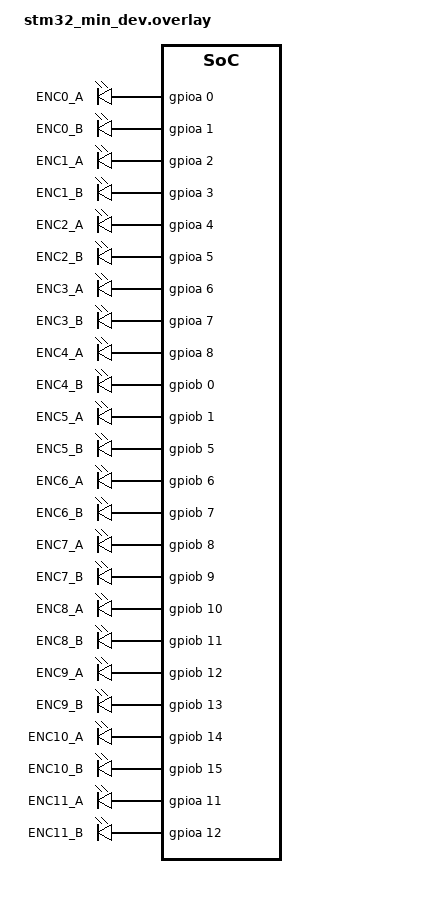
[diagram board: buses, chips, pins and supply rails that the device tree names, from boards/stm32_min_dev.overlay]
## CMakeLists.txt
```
#-------------------------------------------------------------------------------
# Zephyr Example Application
#
# Copyright (c) 2021 Nordic Semiconductor ASA
# SPDX-License-Identifier: Apache-2.0

cmake_minimum_required(VERSION 3.13.1)
find_package(Zephyr REQUIRED HINTS $ENV{ZEPHYR_BASE})

project(encoder_sim LANGUAGES C)

target_sources(app PRIVATE src/main.c)

# The code below locates the git index file for this repository and adds it as a dependency for
# the application VERSION file so that if the repo has a new commit added, even if no files in
# the build have changed, the application version file will be regenerated with the new git commit
find_package(Git QUIET)
if(GIT_FOUND)
  execute_process(
    COMMAND ${GIT_EXECUTABLE} rev-parse --absolute-git-dir
    WORKING_DIRECTORY .
    OUTPUT_VARIABLE application_git_dir
    OUTPUT_STRIP_TRAILING_WHITESPACE
    ERROR_STRIP_TRAILING_WHITESPACE
    ERROR_VARIABLE stderr
    RESULT_VARIABLE return_code
  )
  # If there is an error e.g. it is not a git repo, we just silently ignore it and continue
  # without a dependency, this will be the case with freestanding applications.
  if(NOT return_code)
    if(NOT "${stderr}" STREQUAL "")
      message(WARNING "Application build version git rev-parse warned: ${stderr}")
    endif()

    set_property(TARGET app_version_h PROPERTY APP_VERSION_DEPENDS ${application_git_dir}/index)
  endif()
endif()
```

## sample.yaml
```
# Copyright (c) 2026 Hake Huang
# SPDX-License-Identifier: Apache-2.0
sample:
  description: Multi-channel quadrature encoder waveform simulator for STM32F103C8T6
  name: encoder-sim
common:
  build_only: true
  integration_platforms:
    - stm32_min_dev
tests:
  app.default: {}
```

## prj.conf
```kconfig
# Copyright (c) 2026 Hake Huang
# SPDX-License-Identifier: Apache-2.0
CONFIG_GPIO=y
CONFIG_SERIAL=y
CONFIG_CONSOLE=y
CONFIG_UART_CONSOLE=y
CONFIG_SHELL=y
CONFIG_SHELL_BACKEND_SERIAL=y
CONFIG_SHELL_CMD_BUFF_SIZE=128
CONFIG_SHELL_ARGC_MAX=8
CONFIG_PRINTK=y
CONFIG_LOG=n
CONFIG_THREAD_NAME=y
CONFIG_MAIN_STACK_SIZE=2048
```

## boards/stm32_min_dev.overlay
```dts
/*
 * Copyright (c) 2026 Hake Huang
 * SPDX-License-Identifier: Apache-2.0
 */
/*
 * Pin map for Blue Pill / stm32_min_dev default (blue revision).
 *
 * Reserved and intentionally not used here:
 * - PA9/PA10  : UART1 console shell
 * - PA13/PA14 : SWD debug
 * - PC13      : board LED
 *
 * Optional but used here:
 * - PA11/PA12 : USB D-/D+ (channel 11). Leave ch11 disabled if USB is needed.
 */

#include <zephyr/dt-bindings/gpio/gpio.h>

/ {
	encoder_outputs {
		compatible = "gpio-leds";

		enc0a: enc0a {
			gpios = <&gpioa 0 GPIO_ACTIVE_HIGH>;
			label = "ENC0_A";
		};
		enc0b: enc0b {
			gpios = <&gpioa 1 GPIO_ACTIVE_HIGH>;
			label = "ENC0_B";
		};

		enc1a: enc1a {
			gpios = <&gpioa 2 GPIO_ACTIVE_HIGH>;
			label = "ENC1_A";
		};
		enc1b: enc1b {
			gpios = <&gpioa 3 GPIO_ACTIVE_HIGH>;
			label = "ENC1_B";
		};

		enc2a: enc2a {
			gpios = <&gpioa 4 GPIO_ACTIVE_HIGH>;
			label = "ENC2_A";
		};
		enc2b: enc2b {
			gpios = <&gpioa 5 GPIO_ACTIVE_HIGH>;
			label = "ENC2_B";
		};

		enc3a: enc3a {
			gpios = <&gpioa 6 GPIO_ACTIVE_HIGH>;
			label = "ENC3_A";
		};
		enc3b: enc3b {
			gpios = <&gpioa 7 GPIO_ACTIVE_HIGH>;
			label = "ENC3_B";
		};

		enc4a: enc4a {
			gpios = <&gpioa 8 GPIO_ACTIVE_HIGH>;
			label = "ENC4_A";
		};
		enc4b: enc4b {
			gpios = <&gpiob 0 GPIO_ACTIVE_HIGH>;
			label = "ENC4_B";
		};

		enc5a: enc5a {
			gpios = <&gpiob 1 GPIO_ACTIVE_HIGH>;
			label = "ENC5_A";
		};
		enc5b: enc5b {
			gpios = <&gpiob 5 GPIO_ACTIVE_HIGH>;
			label = "ENC5_B";
		};

		enc6a: enc6a {
			gpios = <&gpiob 6 GPIO_ACTIVE_HIGH>;
			label = "ENC6_A";
		};
		enc6b: enc6b {
			gpios = <&gpiob 7 GPIO_ACTIVE_HIGH>;
			label = "ENC6_B";
		};

		enc7a: enc7a {
			gpios = <&gpiob 8 GPIO_ACTIVE_HIGH>;
			label = "ENC7_A";
		};
		enc7b: enc7b {
			gpios = <&gpiob 9 GPIO_ACTIVE_HIGH>;
			label = "ENC7_B";
		};

		enc8a: enc8a {
			gpios = <&gpiob 10 GPIO_ACTIVE_HIGH>;
			label = "ENC8_A";
		};
		enc8b: enc8b {
			gpios = <&gpiob 11 GPIO_ACTIVE_HIGH>;
			label = "ENC8_B";
		};

		enc9a: enc9a {
			gpios = <&gpiob 12 GPIO_ACTIVE_HIGH>;
			label = "ENC9_A";
		};
		enc9b: enc9b {
			gpios = <&gpiob 13 GPIO_ACTIVE_HIGH>;
			label = "ENC9_B";
		};

		enc10a: enc10a {
			gpios = <&gpiob 14 GPIO_ACTIVE_HIGH>;
			label = "ENC10_A";
		};
		enc10b: enc10b {
			gpios = <&gpiob 15 GPIO_ACTIVE_HIGH>;
			label = "ENC10_B";
		};

		enc11a: enc11a {
			gpios = <&gpioa 11 GPIO_ACTIVE_HIGH>;
			label = "ENC11_A";
		};
		enc11b: enc11b {
			gpios = <&gpioa 12 GPIO_ACTIVE_HIGH>;
			label = "ENC11_B";
		};
	};

	aliases {
		enc0a = &enc0a;
		enc0b = &enc0b;
		enc1a = &enc1a;
		enc1b = &enc1b;
		enc2a = &enc2a;
		enc2b = &enc2b;
		enc3a = &enc3a;
		enc3b = &enc3b;
		enc4a = &enc4a;
		enc4b = &enc4b;
		enc5a = &enc5a;
		enc5b = &enc5b;
		enc6a = &enc6a;
		enc6b = &enc6b;
		enc7a = &enc7a;
		enc7b = &enc7b;
		enc8a = &enc8a;
		enc8b = &enc8b;
		enc9a = &enc9a;
		enc9b = &enc9b;
		enc10a = &enc10a;
		enc10b = &enc10b;
		enc11a = &enc11a;
		enc11b = &enc11b;
	};
};
```

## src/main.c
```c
/*
 * Copyright (c) 2026 Hake Huang
 * SPDX-License-Identifier: Apache-2.0
 */
/*
 * Quadrature encoder waveform simulator for STM32F103C8T6 (Blue Pill / stm32_min_dev).
 *
 * Features:
 * - Up to 12 independent quadrature output channels (A/B pair per channel)
 * - Shell control over UART1 console
 * - Per-channel start/stop, direction, and rate changes
 * - Stop drives both GPIOs to high impedance using GPIO_DISCONNECTED
 */

#include <errno.h>
#include <stdbool.h>
#include <stdint.h>
#include <stdlib.h>
#include <string.h>

#include <zephyr/device.h>
#include <zephyr/drivers/gpio.h>
#include <zephyr/kernel.h>
#include <zephyr/shell/shell.h>
#include <zephyr/sys/printk.h>
#include <zephyr/sys/util.h>

#define CH_COUNT 12
#define DEFAULT_CYCLE_HZ 100
#define MAX_CYCLE_HZ 20000U
#define IDLE_SLEEP_MS 20

struct encoder_channel {
	const char *name;
	struct gpio_dt_spec a;
	struct gpio_dt_spec b;
	bool running;
	int8_t dir;
	uint8_t phase;
	uint32_t cycle_hz;
	uint32_t phase_period_us;
	uint64_t next_edge_us;
};

static struct encoder_channel channels[CH_COUNT] = {
	{
		.name = "ch0",
		.a = GPIO_DT_SPEC_GET(DT_ALIAS(enc0a), gpios),
		.b = GPIO_DT_SPEC_GET(DT_ALIAS(enc0b), gpios),
	},
	{
		.name = "ch1",
		.a = GPIO_DT_SPEC_GET(DT_ALIAS(enc1a), gpios),
		.b = GPIO_DT_SPEC_GET(DT_ALIAS(enc1b), gpios),
	},
	{
		.name = "ch2",
		.a = GPIO_DT_SPEC_GET(DT_ALIAS(enc2a), gpios),
		.b = GPIO_DT_SPEC_GET(DT_ALIAS(enc2b), gpios),
	},
	{
		.name = "ch3",
		.a = GPIO_DT_SPEC_GET(DT_ALIAS(enc3a), gpios),
		.b = GPIO_DT_SPEC_GET(DT_ALIAS(enc3b), gpios),
	},
	{
		.name = "ch4",
		.a = GPIO_DT_SPEC_GET(DT_ALIAS(enc4a), gpios),
		.b = GPIO_DT_SPEC_GET(DT_ALIAS(enc4b), gpios),
	},
	{
		.name = "ch5",
		.a = GPIO_DT_SPEC_GET(DT_ALIAS(enc5a), gpios),
		.b = GPIO_DT_SPEC_GET(DT_ALIAS(enc5b), gpios),
	},
	{
		.name = "ch6",
		.a = GPIO_DT_SPEC_GET(DT_ALIAS(enc6a), gpios),
		.b = GPIO_DT_SPEC_GET(DT_ALIAS(enc6b), gpios),
	},
	{
		.name = "ch7",
		.a = GPIO_DT_SPEC_GET(DT_ALIAS(enc7a), gpios),
		.b = GPIO_DT_SPEC_GET(DT_ALIAS(enc7b), gpios),
	},
	{
		.name = "ch8",
		.a = GPIO_DT_SPEC_GET(DT_ALIAS(enc8a), gpios),
		.b = GPIO_DT_SPEC_GET(DT_ALIAS(enc8b), gpios),
	},
	{
		.name = "ch9",
		.a = GPIO_DT_SPEC_GET(DT_ALIAS(enc9a), gpios),
		.b = GPIO_DT_SPEC_GET(DT_ALIAS(enc9b), gpios),
	},
	{
		.name = "ch10",
		.a = GPIO_DT_SPEC_GET(DT_ALIAS(enc10a), gpios),
		.b = GPIO_DT_SPEC_GET(DT_ALIAS(enc10b), gpios),
	},
	{
		.name = "ch11",
		.a = GPIO_DT_SPEC_GET(DT_ALIAS(enc11a), gpios),
		.b = GPIO_DT_SPEC_GET(DT_ALIAS(enc11b), gpios),
	},
};

/* Forward sequence: A leads B => 00 -> 10 -> 11 -> 01 -> 00 */
static const uint8_t phase_lut[4][2] = {
	{0U, 0U},
	{1U, 0U},
	{1U, 1U},
	{0U, 1U},
};

static struct k_spinlock channels_lock;
static K_THREAD_STACK_DEFINE(generator_stack, 1536);
static struct k_thread generator_thread_data;

static uint64_t now_us(void)
{
	return k_cyc_to_us_floor64(k_cycle_get_64());
}

static int channel_check_ready(size_t idx)
{
	if (idx >= ARRAY_SIZE(channels)) {
		return -EINVAL;
	}

	if (!gpio_is_ready_dt(&channels[idx].a) || !gpio_is_ready_dt(&channels[idx].b)) {
		return -ENODEV;
	}

	return 0;
}

static int channel_drive_phase(size_t idx, uint8_t phase)
{
	int ret;

	ret = gpio_pin_set_dt(&channels[idx].a, phase_lut[phase & 0x3U][0]);
	if (ret < 0) {
		return ret;
	}

	return gpio_pin_set_dt(&channels[idx].b, phase_lut[phase & 0x3U][1]);
}

static int channel_to_hiz(size_t idx)
{
	int ret_a = gpio_pin_configure_dt(&channels[idx].a, GPIO_DISCONNECTED);
	int ret_b = gpio_pin_configure_dt(&channels[idx].b, GPIO_DISCONNECTED);

	if (ret_a < 0) {
		return ret_a;
	}

	return ret_b;
}

static int channel_prepare_output(size_t idx)
{
	int ret;

	ret = gpio_pin_configure_dt(&channels[idx].a, GPIO_OUTPUT_INACTIVE);
	if (ret < 0) {
		return ret;
	}

	ret = gpio_pin_configure_dt(&channels[idx].b, GPIO_OUTPUT_INACTIVE);
	if (ret < 0) {
		(void)gpio_pin_configure_dt(&channels[idx].a, GPIO_DISCONNECTED);
		return ret;
	}

	return 0;
}

static int channel_start(size_t idx, uint32_t cycle_hz, int dir)
{
	uint64_t phase_period_us;
	k_spinlock_key_t key;
	int ret;

	ret = channel_check_ready(idx);
	if (ret < 0) {
		return ret;
	}

	if ((cycle_hz == 0U) || (cycle_hz > MAX_CYCLE_HZ)) {
		return -EINVAL;
	}

	phase_period_us = DIV_ROUND_CLOSEST((uint64_t)1000000U, (uint64_t)cycle_hz * 4U);
	if (phase_period_us == 0U) {
		phase_period_us = 1U;
	}

	ret = channel_prepare_output(idx);
	if (ret < 0) {
		return ret;
	}

	ret = channel_drive_phase(idx, 0U);
	if (ret < 0) {
		(void)channel_to_hiz(idx);
		return ret;
	}

	key = k_spin_lock(&channels_lock);
	channels[idx].running = true;
	channels[idx].dir = (dir >= 0) ? 1 : -1;
	channels[idx].phase = 0U;
	channels[idx].cycle_hz = cycle_hz;
	channels[idx].phase_period_us = (uint32_t)phase_period_us;
	channels[idx].next_edge_us = now_us() + phase_period_us;
	k_spin_unlock(&channels_lock, key);

	return 0;
}

static int channel_stop(size_t idx)
{
	k_spinlock_key_t key;
	int ret;

	ret = channel_check_ready(idx);
	if (ret < 0) {
		return ret;
	}

	key = k_spin_lock(&channels_lock);
	channels[idx].running = false;
	channels[idx].cycle_hz = 0U;
	channels[idx].phase_period_us = 0U;
	k_spin_unlock(&channels_lock, key);

	return channel_to_hiz(idx);
}

static int parse_channel(const char *arg, size_t *idx)
{
	char *end;
	unsigned long value;

	value = strtoul(arg, &end, 0);
	if ((end == arg) || (*end != '\0') || (value >= ARRAY_SIZE(channels))) {
		return -EINVAL;
	}

	*idx = (size_t)value;
	return 0;
}

static int parse_direction(const char *arg, int *dir)
{
	if ((strcmp(arg, "f") == 0) || (strcmp(arg, "forward") == 0) ||
	    (strcmp(arg, "+") == 0) || (strcmp(arg, "cw") == 0)) {
		*dir = 1;
		return 0;
	}

	if ((strcmp(arg, "r") == 0) || (strcmp(arg, "reverse") == 0) ||
	    (strcmp(arg, "-") == 0) || (strcmp(arg, "ccw") == 0)) {
		*dir = -1;
		return 0;
	}

	return -EINVAL;
}

static int parse_rate(const char *arg, uint32_t *rate)
{
	char *end;
	unsigned long value;

	value = strtoul(arg, &end, 0);
	if ((end == arg) || (*end != '\0') || (value == 0U) || (value > MAX_CYCLE_HZ)) {
		return -EINVAL;
	}

	*rate = (uint32_t)value;
	return 0;
}

static void print_channel_status(const struct shell *shell, size_t idx)
{
	bool running;
	int dir;
	uint8_t phase;
	uint32_t cycle_hz;
	uint32_t phase_period_us;
	k_spinlock_key_t key;

	key = k_spin_lock(&channels_lock);
	running = channels[idx].running;
	dir = channels[idx].dir;
	phase = channels[idx].phase;
	cycle_hz = channels[idx].cycle_hz;
	phase_period_us = channels[idx].phase_period_us;
	k_spin_unlock(&channels_lock, key);

	shell_print(shell,
		    "%s idx=%u A=%s.%u B=%s.%u state=%s dir=%s cycle_hz=%u phase=%u edge_us=%u",
		    channels[idx].name, (unsigned int)idx,
		    channels[idx].a.port->name, channels[idx].a.pin,
		    channels[idx].b.port->name, channels[idx].b.pin,
		    running ? "running" : "hi-z",
		    (dir >= 0) ? "forward" : "reverse",
		    cycle_hz, phase, phase_period_us);
}

static void generator_thread(void *arg1, void *arg2, void *arg3)
{
	ARG_UNUSED(arg1);
	ARG_UNUSED(arg2);
	ARG_UNUSED(arg3);

	while (true) {
		struct {
			size_t idx;
			uint8_t phase;
		} updates[CH_COUNT];
		size_t update_count = 0U;
		uint64_t now = now_us();
		uint64_t nearest = now + 1000U;
		bool any_running = false;
		k_spinlock_key_t key;

		key = k_spin_lock(&channels_lock);
		for (size_t i = 0; i < ARRAY_SIZE(channels); ++i) {
			if (!channels[i].running) {
				continue;
			}

			any_running = true;

			if ((int64_t)(now - channels[i].next_edge_us) >= 0) {
				channels[i].phase = (uint8_t)((channels[i].phase +
					((channels[i].dir >= 0) ? 1U : 3U)) & 0x3U);
				updates[update_count].idx = i;
				updates[update_count].phase = channels[i].phase;
				update_count++;

				do {
					channels[i].next_edge_us += channels[i].phase_period_us;
				} while ((int64_t)(now - channels[i].next_edge_us) >= 0);
			}

			if (channels[i].next_edge_us < nearest) {
				nearest = channels[i].next_edge_us;
			}
		}
		k_spin_unlock(&channels_lock, key);

		for (size_t i = 0; i < update_count; ++i) {
			(void)channel_drive_phase(updates[i].idx, updates[i].phase);
		}

		if (!any_running) {
			k_sleep(K_MSEC(IDLE_SLEEP_MS));
			continue;
		}

		now = now_us();
		if ((int64_t)(nearest - now) > 1500) {
			k_sleep(K_MSEC(1));
		} else if ((int64_t)(nearest - now) > 100) {
			k_usleep((int32_t)(nearest - now - 50));
		} else if ((int64_t)(nearest - now) > 10) {
			k_busy_wait((uint32_t)(nearest - now - 5));
		} else {
			k_yield();
		}
	}
}

static int cmd_enc_list(const struct shell *shell, size_t argc, char **argv)
{
	ARG_UNUSED(argc);
	ARG_UNUSED(argv);

	for (size_t i = 0; i < ARRAY_SIZE(channels); ++i) {
		print_channel_status(shell, i);
	}

	return 0;
}

static int cmd_enc_enable(const struct shell *shell, size_t argc, char **argv)
{
	size_t idx;
	uint32_t rate;
	int dir = 1;
	int ret;

	ret = parse_channel(argv[1], &idx);
	if (ret < 0) {
		shell_error(shell, "invalid channel, expected 0..%u", (unsigned int)(CH_COUNT - 1));
		return ret;
	}

	ret = parse_rate(argv[2], &rate);
	if (ret < 0) {
		shell_error(shell, "invalid cycle_hz, expected 1..%u", MAX_CYCLE_HZ);
		return ret;
	}

	if (argc >= 4) {
		ret = parse_direction(argv[3], &dir);
		if (ret < 0) {
			shell_error(shell, "invalid direction, use forward|reverse");
			return ret;
		}
	}

	ret = channel_start(idx, rate, dir);
	if (ret < 0) {
		shell_error(shell, "enable failed: %d", ret);
		return ret;
	}

	print_channel_status(shell, idx);
	return 0;
}

static int cmd_enc_disable(const struct shell *shell, size_t argc, char **argv)
{
	size_t idx;
	int ret;

	ret = parse_channel(argv[1], &idx);
	if (ret < 0) {
		shell_error(shell, "invalid channel, expected 0..%u", (unsigned int)(CH_COUNT - 1));
		return ret;
	}

	ret = channel_stop(idx);
	if (ret < 0) {
		shell_error(shell, "disable failed: %d", ret);
		return ret;
	}

	print_channel_status(shell, idx);
	return 0;
}

static int cmd_enc_rate(const struct shell *shell, size_t argc, char **argv)
{
	size_t idx;
	uint32_t rate;
	k_spinlock_key_t key;
	int ret;
	uint64_t phase_period_us;

	ret = parse_channel(argv[1], &idx);
	if (ret < 0) {
		shell_error(shell, "invalid channel, expected 0..%u", (unsigned int)(CH_COUNT - 1));
		return ret;
	}

	ret = parse_rate(argv[2], &rate);
	if (ret < 0) {
		shell_error(shell, "invalid cycle_hz, expected 1..%u", MAX_CYCLE_HZ);
		return ret;
	}

	phase_period_us = DIV_ROUND_CLOSEST((uint64_t)1000000U, (uint64_t)rate * 4U);
	if (phase_period_us == 0U) {
		phase_period_us = 1U;
	}

	key = k_spin_lock(&channels_lock);
	channels[idx].cycle_hz = rate;
	channels[idx].phase_period_us = (uint32_t)phase_period_us;
	if (channels[idx].running) {
		channels[idx].next_edge_us = now_us() + phase_period_us;
	}
	k_spin_unlock(&channels_lock, key);

	print_channel_status(shell, idx);
	return 0;
}

static int cmd_enc_dir(const struct shell *shell, size_t argc, char **argv)
{
	size_t idx;
	int dir;
	k_spinlock_key_t key;
	int ret;

	ret = parse_channel(argv[1], &idx);
	if (ret < 0) {
		shell_error(shell, "invalid channel, expected 0..%u", (unsigned int)(CH_COUNT - 1));
		return ret;
	}

	ret = parse_direction(argv[2], &dir);
	if (ret < 0) {
		shell_error(shell, "invalid direction, use forward|reverse");
		return ret;
	}

	key = k_spin_lock(&channels_lock);
	channels[idx].dir = (dir >= 0) ? 1 : -1;
	k_spin_unlock(&channels_lock, key);

	print_channel_status(shell, idx);
	return 0;
}

static int cmd_enc_stopall(const struct shell *shell, size_t argc, char **argv)
{
	ARG_UNUSED(argc);
	ARG_UNUSED(argv);

	for (size_t i = 0; i < ARRAY_SIZE(channels); ++i) {
		int ret = channel_stop(i);

		if (ret < 0) {
			shell_error(shell, "disable ch%u failed: %d", (unsigned int)i, ret);
			return ret;
		}
	}

	shell_print(shell, "all channels stopped and set to high impedance");
	return 0;
}

SHELL_STATIC_SUBCMD_SET_CREATE(
	enc_subcmds,
	SHELL_CMD(list, NULL, "Show all channels and GPIO assignments", cmd_enc_list),
	SHELL_CMD_ARG(enable, NULL, "enable <ch> <cycle_hz> [forward|reverse]", cmd_enc_enable, 3, 1),
	SHELL_CMD_ARG(disable, NULL, "disable <ch> and set both GPIOs to high-Z", cmd_enc_disable, 2, 0),
	SHELL_CMD_ARG(rate, NULL, "rate <ch> <cycle_hz>", cmd_enc_rate, 3, 0),
	SHELL_CMD_ARG(dir, NULL, "dir <ch> <forward|reverse>", cmd_enc_dir, 3, 0),
	SHELL_CMD(stopall, NULL, "Stop all channels and set all pins to high-Z", cmd_enc_stopall),
	SHELL_SUBCMD_SET_END
);
SHELL_CMD_REGISTER(enc, &enc_subcmds, "Quadrature encoder waveform generator", NULL);

int main(void)
{
	printk("Encoder simulator for STM32F103C8T6\n");
	printk("UART shell is on USART1 @ 115200 bps\n");
	printk("Command example: enc enable 0 %u forward\n", DEFAULT_CYCLE_HZ);

	for (size_t i = 0; i < ARRAY_SIZE(channels); ++i) {
		int ret = channel_check_ready(i);

		if (ret < 0) {
			printk("ch%u gpio not ready: %d\n", (unsigned int)i, ret);
			continue;
		}

		ret = channel_stop(i);
		if (ret < 0) {
			printk("ch%u initial hi-z failed: %d\n", (unsigned int)i, ret);
		}
	}

	(void)k_thread_create(&generator_thread_data, generator_stack,
		      K_THREAD_STACK_SIZEOF(generator_stack),
		      generator_thread, NULL, NULL, NULL,
		      2, 0, K_NO_WAIT);
		k_thread_name_set(&generator_thread_data, "enc_gen");

	return 0;
}
```
